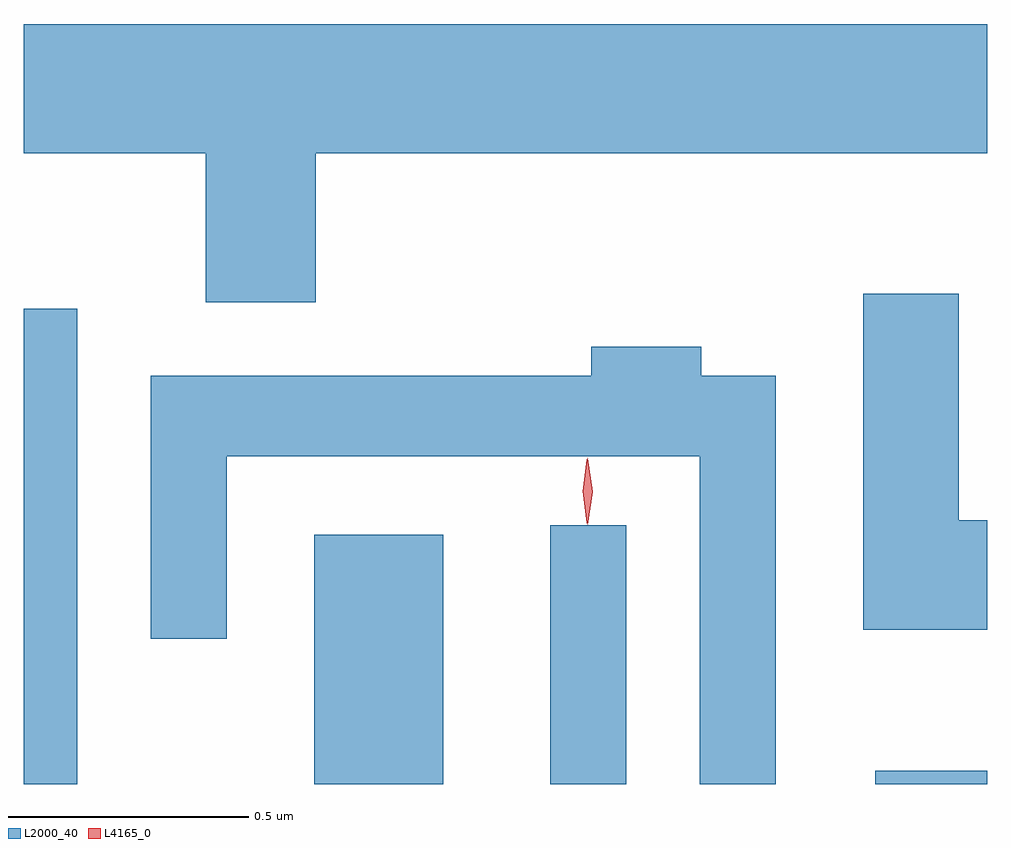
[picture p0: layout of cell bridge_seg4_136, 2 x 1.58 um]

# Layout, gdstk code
import gdstk
lib = gdstk.Library(unit=1e-6, precision=1e-09)
def R(c, l, rs):  # rectangles x0, y0, x1, y1
    for r in rs: c.add(gdstk.rectangle(r[:2], r[2:], *l))
def P(c, l, *ps):  # polygons
    for p in ps: c.add(gdstk.Polygon(p, *l))
L2000_40 = (2000, 40)
L4165_0 = (4165, 0)

bridge_seg4_136 = lib.new_cell('bridge_seg4_136')
R(bridge_seg4_136, L2000_40, [(926.913,1311.186,927.024,1312.173), (927.516,1311.186,927.784,1311.704), (928.006,1311.186,928.164,1311.723), (928.681,1311.186,928.913,1311.214)])
P(bridge_seg4_136, L2000_40, [(927.519,1312.496),(928.913,1312.496),(928.913,1312.764),(926.913,1312.764),(926.913,1312.496),(927.291,1312.496),(927.291,1312.186),(927.519,1312.186)],
  [(928.913,1311.734),(928.854,1311.734),(928.854,1312.204),(928.656,1312.204),(928.656,1311.506),(928.913,1311.506)],
  [(928.474,1312.034),(928.319,1312.034),(928.319,1312.094),(928.091,1312.094),(928.091,1312.034),(927.176,1312.034),(927.176,1311.488),(927.334,1311.488),(927.334,1311.866),(928.316,1311.866),(928.316,1311.186),(928.474,1311.186)])
P(bridge_seg4_136, L4165_0, [(928.082,1311.727),(928.073,1311.794),(928.082,1311.86),(928.083,1311.86),(928.083,1311.86),(928.093,1311.794),(928.084,1311.727),(928.083,1311.727)],
  [(928.084,1311.724),(928.084,1311.724),(928.074,1311.793),(928.084,1311.862),(928.084,1311.863),(928.084,1311.862),(928.094,1311.793),(928.084,1311.724)])

lib.write_gds('bridge_seg4_136.gds')
